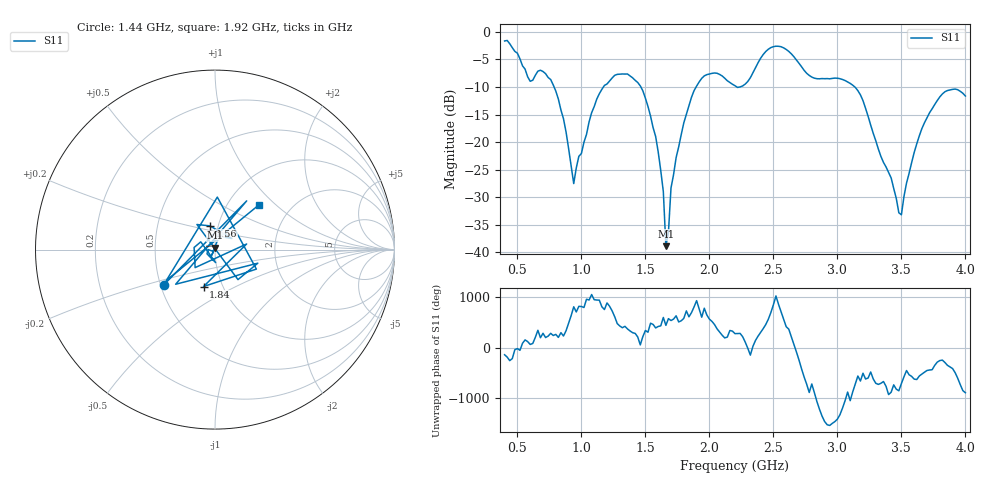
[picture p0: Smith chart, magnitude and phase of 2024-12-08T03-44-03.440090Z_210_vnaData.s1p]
!Created with skrf (http://scikit-rf.org).
# Hz S RI R 50.0
!freq ReS11 ImS11
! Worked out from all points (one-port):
!   181 points, 400 MHz to 4 GHz, reference 50 ohm
!   lowest |S11| = -38.9 dB at 1.66 GHz (marker M1), VSWR 1.02, Z = 50.1 + j1.13 ohm
!   |S11| at or under -10 dB: 786.6 MHz to 1.172 GHz (385.4 MHz wide, 39.4 % of centre); 1.465 GHz to 1.896 GHz (431.6 MHz wide, 25.7 % of centre); 3.136 GHz to end of sweep (the widest 3 of 4)
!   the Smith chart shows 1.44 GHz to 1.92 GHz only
!   S11 on the Smith chart (normalised r, x): 1.44 GHz: 0.52, -0.23; 1.56 GHz: 0.91, +0.25; 1.84 GHz: 0.81, -0.35; 1.92 GHz: 1.39, +0.79
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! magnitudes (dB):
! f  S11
! 400 MHz  -1.6
! 600 MHz  -9.0
! 760 MHz  -8.7
! 860 MHz  -15.8
! 940 MHz  -27.5
! 1.12 GHz  -12.2
! 1.3 GHz  -7.7
! 1.44 GHz  -9.2
! 1.56 GHz  -17.4
! 1.64 GHz  -29.0
! 1.66 GHz  -38.9
! 1.68 GHz  -36.4
! 1.7 GHz  -28.3
! 1.76 GHz  -20.9
! 1.84 GHz  -13.3
! 1.92 GHz  -9.1
! 2.2 GHz  -9.8
! 2.48 GHz  -2.9
! 2.66 GHz  -4.5
! 2.8 GHz  -8.2
! 3.1 GHz  -9.4
! 3.2 GHz  -12.5
! 3.48 GHz  -32.8
! 3.5 GHz  -33.2
! 3.56 GHz  -25.7
! 3.66 GHz  -17.6
! 3.8 GHz  -11.8
! 4 GHz  -11.6
